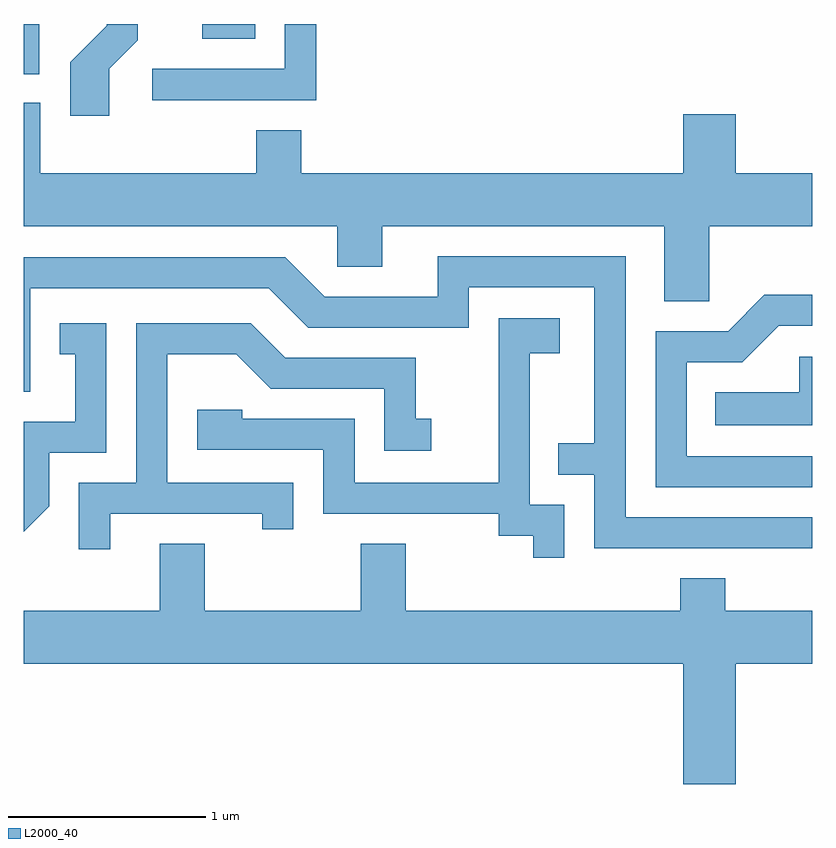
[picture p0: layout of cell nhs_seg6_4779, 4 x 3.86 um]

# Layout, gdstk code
import gdstk
lib = gdstk.Library(unit=1e-6, precision=1e-09)
def R(c, l, rs):  # rectangles x0, y0, x1, y1
    for r in rs: c.add(gdstk.rectangle(r[:2], r[2:], *l))
def P(c, l, *ps):  # polygons
    for p in ps: c.add(gdstk.Polygon(p, *l))
L2000_40 = (2000, 40)

nhs_seg6_4779 = lib.new_cell('nhs_seg6_4779')
R(nhs_seg6_4779, L2000_40, [(331.611,1561.906,331.689,1562.162), (332.516,1562.086,332.784,1562.162)])
P(nhs_seg6_4779, L2000_40, [(332.044,1561.934),(332.189,1562.079),(332.189,1562.162),(332.031,1562.162),(332.031,1562.152),(331.846,1561.967),(331.846,1561.696),(332.044,1561.696)],
  [(333.094,1562.162),(332.936,1562.162),(332.936,1561.934),(332.263,1561.934),(332.263,1561.776),(333.094,1561.776)],
  [(335.089,1561.136),(335.611,1561.136),(335.611,1561.404),(335.224,1561.404),(335.224,1561.704),(334.956,1561.704),(334.956,1561.404),(333.019,1561.404),(333.019,1561.624),(332.791,1561.624),(332.791,1561.404),(331.694,1561.404),(331.694,1561.763),(331.611,1561.763),(331.611,1561.136),(333.201,1561.136),(333.201,1560.931),(333.429,1560.931),(333.429,1561.136),(334.861,1561.136),(334.861,1560.756),(335.089,1560.756)],
  [(335.611,1559.659),(334.664,1559.659),(334.664,1560.984),(333.711,1560.984),(333.711,1560.779),(333.137,1560.779),(332.937,1560.979),(331.611,1560.979),(331.611,1560.296),(331.644,1560.296),(331.644,1560.821),(332.854,1560.821),(333.054,1560.621),(333.869,1560.621),(333.869,1560.826),(334.506,1560.826),(334.506,1560.034),(334.323,1560.034),(334.323,1559.876),(334.506,1559.876),(334.506,1559.501),(335.611,1559.501)],
  [(335.611,1559.969),(334.974,1559.969),(334.974,1560.446),(335.257,1560.446),(335.442,1560.631),(335.611,1560.631),(335.611,1560.789),(335.369,1560.789),(335.184,1560.604),(334.816,1560.604),(334.816,1559.811),(335.611,1559.811)],
  [(334.354,1559.724),(334.179,1559.724),(334.179,1560.491),(334.329,1560.491),(334.329,1560.669),(334.021,1560.669),(334.021,1559.834),(333.289,1559.834),(333.289,1560.159),(332.719,1560.159),(332.719,1560.204),(332.491,1560.204),(332.491,1560.001),(333.131,1560.001),(333.131,1559.676),(334.021,1559.676),(334.021,1559.566),(334.196,1559.566),(334.196,1559.453),(334.354,1559.453)],
  [(331.739,1559.714),(331.739,1559.986),(332.029,1559.986),(332.029,1560.644),(331.793,1560.644),(331.793,1560.486),(331.871,1560.486),(331.871,1560.144),(331.611,1560.144),(331.611,1559.585)],
  [(332.049,1559.676),(332.821,1559.676),(332.821,1559.598),(332.979,1559.598),(332.979,1559.834),(332.339,1559.834),(332.339,1560.486),(332.689,1560.486),(332.864,1560.311),(333.441,1560.311),(333.441,1559.996),(333.678,1559.996),(333.678,1560.159),(333.599,1560.159),(333.599,1560.469),(332.937,1560.469),(332.762,1560.644),(332.181,1560.644),(332.181,1559.834),(331.891,1559.834),(331.891,1559.498),(332.049,1559.498)],
  [(335.611,1560.474),(335.546,1560.474),(335.546,1560.294),(335.118,1560.294),(335.118,1560.126),(335.611,1560.126)],
  [(335.224,1558.916),(335.611,1558.916),(335.611,1559.184),(335.169,1559.184),(335.169,1559.349),(334.941,1559.349),(334.941,1559.184),(333.549,1559.184),(333.549,1559.524),(333.321,1559.524),(333.321,1559.184),(332.529,1559.184),(332.529,1559.524),(332.301,1559.524),(332.301,1559.184),(331.611,1559.184),(331.611,1558.916),(334.956,1558.916),(334.956,1558.306),(335.224,1558.306)])

lib.write_gds('nhs_seg6_4779.gds')
